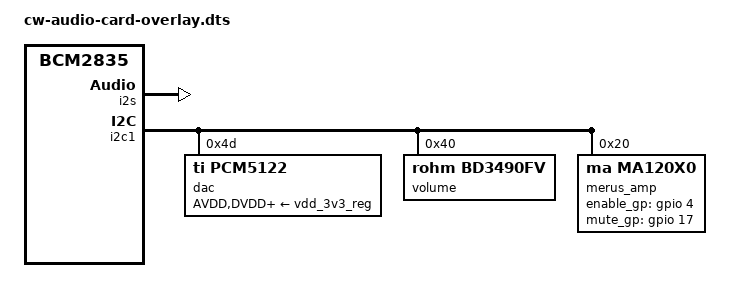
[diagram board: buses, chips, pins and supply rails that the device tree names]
/dts-v1/;
/plugin/;

/ {
    compatible = "brcm,bcm2835";

    fragment@0 {
        target = <&i2s>;
        __overlay__ {
            status = "okay";
        };
    };

    // https://www.kernel.org/doc/Documentation/devicetree/bindings/pinctrl/brcm,bcm2835-gpio.txt
    fragment@1 {
        target = <&gpio>;
        __overlay__ {
            merus_amp_pins: merus_amp_pins {
                // !amp_enable !amp_mute
                brcm,pins = <4 17>;
                // out, out
                brcm,function = <1 1>;
                // pullup, pulldown
                brcm,pull = <2 1>;
            };
        };
    };

    fragment@2 {
        target = <&i2c1>;
        __overlay__ {
            #address-cells = <1>;
            #size-cells = <0>;
			status = "okay";

			// https://github.com/raspberrypi/linux/blob/rpi-5.10.y/sound/soc/codecs/pcm512x.h
			// https://github.com/raspberrypi/linux/blob/rpi-5.10.y/sound/soc/codecs/pcm512x.c
            dac: pcm5122@4d {
				#sound-dai-cells = <0>;
				compatible = "ti,pcm5122";
				reg = <0x4d>;
				AVDD-supply = <&vdd_3v3_reg>;
				DVDD-supply = <&vdd_3v3_reg>;
				CPVDD-supply = <&vdd_3v3_reg>;
				status = "okay";
                sound-name-prefix = "dac";
			};

            volume: bd3490fv@40 {
                compatible = "rohm,bd3490fv";
                reg = <0x40>;
                status = "okay";
                sound-name-prefix = "vol";
            };

            merus_amp: ma12070@20 {
				compatible = "ma,ma120x0";
				reg = <0x20>;
				status = "okay";

				pinctrl-names = "default";
				pinctrl-0 = <&merus_amp_pins>;

                // 0 = "active high" because that's what the driver's expecting,
                // even though in reality the chip's pins are LOW =
                // enabled/muted
                enable_gp-gpios = <&gpio 4 0>;
				mute_gp-gpios = <&gpio 17 0>;

                sound-name-prefix = "amp";
			};
        };
    };

    fragment@3 {
        target = <&sound>;
        __overlay__ {
            compatible = "simple-audio-card";
            i2s_controller = <&i2s>;
            status = "okay";

            simple-audio-card,name = "cw-audio-card";
            simple-audio-card,format = "i2s";
            simple-audio-card,bitclock-master = <&dailink0_master>;
            simple-audio-card,frame-master = <&dailink0_master>;

            simple-audio-card,aux-devs = <&volume>, <&merus_amp>;

            simple-audio-card,widgets =
                "Line", "Aux Jack",
                "Speaker", "External Speaker";
            simple-audio-card,routing =
                "vol AUXINL", "Aux Jack",
                "vol AUXINR", "Aux Jack",
                "vol DACINL", "dac OUTL",
                "vol DACINR", "dac OUTR",
                "amp IN_A", "vol MUXOUTL",
                "amp IN_B", "vol MUXOUTR",
                "External Speaker", "amp OUT_A",
                "External Speaker", "amp OUT_B";

            dailink0_master: simple-audio-card,cpu {
                sound-dai = <&i2s>;
            };
            simple-audio-card,codec {
                sound-dai = <&dac>;
            };
        };
    };
};
